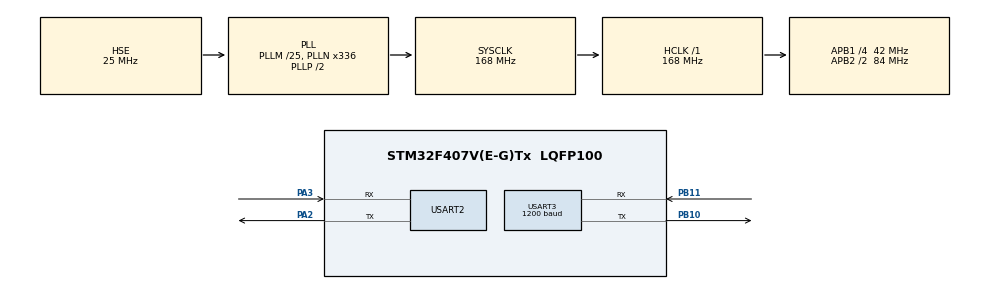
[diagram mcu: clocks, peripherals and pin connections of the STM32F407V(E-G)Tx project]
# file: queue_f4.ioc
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FREERTOS.Tasks01=defaultTask,0,128,StartDefaultTask,Default,NULL,Dynamic,NULL,NULL;myTask02,0,128,StartTask02,Default,NULL,Dynamic,NULL,NULL
Mcu.Family=STM32F4
Mcu.Name=STM32F407V(E-G)Tx
Mcu.Package=LQFP100
NVIC.PriorityGroup=NVIC_PRIORITYGROUP_4
NVIC.TIM1_UP_TIM10_IRQn=true\:15\:0\:false\:false\:true\:false\:false\:true\:true
NVIC.TimeBase=TIM1_UP_TIM10_IRQn
NVIC.TimeBaseIP=TIM1
NVIC.USART2_IRQn=true\:5\:0\:false\:false\:true\:true\:true\:true\:true
PA13.Mode=Serial_Wire
PA13.Signal=SYS_JTMS-SWDIO
PA14.Mode=Serial_Wire
PA14.Signal=SYS_JTCK-SWCLK
PA2.Mode=Asynchronous
PA2.Signal=USART2_TX
PA3.Mode=Asynchronous
PA3.Signal=USART2_RX
PB10.Mode=Asynchronous
PB10.Signal=USART3_TX
PB11.Mode=Asynchronous
PB11.Signal=USART3_RX
PH0-OSC_IN.Mode=HSE-External-Oscillator
PH0-OSC_IN.Signal=RCC_OSC_IN
PH1-OSC_OUT.Mode=HSE-External-Oscillator
PH1-OSC_OUT.Signal=RCC_OSC_OUT
ProjectManager.HeapSize=0x200
ProjectManager.StackSize=0x400
ProjectManager.TargetToolchain=STM32CubeIDE
RCC.48MHZClocksFreq_Value=84000000
RCC.AHBFreq_Value=168000000
RCC.APB1CLKDivider=RCC_HCLK_DIV4
RCC.APB1Freq_Value=42000000
RCC.APB1TimFreq_Value=84000000
RCC.APB2CLKDivider=RCC_HCLK_DIV2
RCC.APB2Freq_Value=84000000
RCC.APB2TimFreq_Value=168000000
RCC.CortexFreq_Value=168000000
RCC.HCLKFreq_Value=168000000
RCC.HSE_VALUE=25000000
RCC.HSI_VALUE=16000000
RCC.LSE_VALUE=32768
RCC.PLLM=25
RCC.PLLN=336
RCC.PLLSourceVirtual=RCC_PLLSOURCE_HSE
RCC.SYSCLKFreq_VALUE=168000000
RCC.SYSCLKSource=RCC_SYSCLKSOURCE_PLLCLK
RCC.VCOOutputFreq_Value=336000000
USART2.VirtualMode=VM_ASYNC
USART3.BaudRate=1200
USART3.VirtualMode=VM_ASYNC
VP_FREERTOS_VS_CMSIS_V1.Mode=CMSIS_V1
VP_SYS_VS_tim1.Mode=TIM1
board=custom

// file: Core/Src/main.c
/* USER CODE BEGIN Header */
/**
  ******************************************************************************
  * @file           : main.c
  * @brief          : Main program body
  ******************************************************************************
  * @attention
  *
  * Copyright (c) 2023 STMicroelectronics.
  * All rights reserved.
  *
  * This software is licensed under terms that can be found in the LICENSE file
  * in the root directory of this software component.
  * If no LICENSE file comes with this software, it is provided AS-IS.
  *
  ******************************************************************************
  */
/* USER CODE END Header */
#include "main.h"
#include "cmsis_os.h"

UART_HandleTypeDef huart2;
UART_HandleTypeDef huart3;

osThreadId defaultTaskHandle;
osThreadId myTask02Handle;
/* USER CODE BEGIN PV */
xQueueHandle myQueue;
uint8_t item[50];
uint8_t data;
uint32_t count;
uint8_t str[50];
/* USER CODE END PV */

void SystemClock_Config(void);
static void MX_GPIO_Init(void);
static void MX_USART2_UART_Init(void);
static void MX_USART3_UART_Init(void);
void StartDefaultTask(void const * argument);
void StartTask02(void const * argument);

int main(void)
{

  /* MCU Configuration--------------------------------------------------------*/

  /* Reset of all peripherals, Initializes the Flash interface and the Systick. */
  HAL_Init();

  /* Configure the system clock */
  SystemClock_Config();

  /* Initialize all configured peripherals */
  MX_GPIO_Init();
  MX_USART2_UART_Init();
  MX_USART3_UART_Init();
  /* USER CODE BEGIN 2 */
  myQueue = xQueueCreate(10, sizeof(item));
  configASSERT(myQueue != NULL);

   HAL_UART_Receive_IT(&huart2, &data, 1);
  /* USER CODE END 2 */

  /* Create the thread(s) */
  /* definition and creation of defaultTask */
  osThreadDef(defaultTask, StartDefaultTask, osPriorityNormal, 0, 128);
  defaultTaskHandle = osThreadCreate(osThread(defaultTask), NULL);

  /* definition and creation of myTask02 */
  osThreadDef(myTask02, StartTask02, osPriorityNormal, 0, 128);
  myTask02Handle = osThreadCreate(osThread(myTask02), NULL);

  /* Start scheduler */
  osKernelStart();
  /* We should never get here as control is now taken by the scheduler */
  /* Infinite loop */
  while (1)
  {

  }
}

void SystemClock_Config(void)
{
  RCC_OscInitTypeDef RCC_OscInitStruct = {0};
  RCC_ClkInitTypeDef RCC_ClkInitStruct = {0};

  /** Configure the main internal regulator output voltage
  */
  __HAL_RCC_PWR_CLK_ENABLE();
  __HAL_PWR_VOLTAGESCALING_CONFIG(PWR_REGULATOR_VOLTAGE_SCALE1);

  /** Initializes the RCC Oscillators according to the specified parameters
  * in the RCC_OscInitTypeDef structure.
  */
  RCC_OscInitStruct.OscillatorType = RCC_OSCILLATORTYPE_HSE;
  RCC_OscInitStruct.HSEState = RCC_HSE_ON;
  RCC_OscInitStruct.PLL.PLLState = RCC_PLL_ON;
  RCC_OscInitStruct.PLL.PLLSource = RCC_PLLSOURCE_HSE;
  RCC_OscInitStruct.PLL.PLLM = 25;
  RCC_OscInitStruct.PLL.PLLN = 336;
  RCC_OscInitStruct.PLL.PLLP = RCC_PLLP_DIV2;
  RCC_OscInitStruct.PLL.PLLQ = 4;
  if (HAL_RCC_OscConfig(&RCC_OscInitStruct) != HAL_OK)
  {
    Error_Handler();
  }

  /** Initializes the CPU, AHB and APB buses clocks
  */
  RCC_ClkInitStruct.ClockType = RCC_CLOCKTYPE_HCLK|RCC_CLOCKTYPE_SYSCLK
                              |RCC_CLOCKTYPE_PCLK1|RCC_CLOCKTYPE_PCLK2;
  RCC_ClkInitStruct.SYSCLKSource = RCC_SYSCLKSOURCE_PLLCLK;
  RCC_ClkInitStruct.AHBCLKDivider = RCC_SYSCLK_DIV1;
  RCC_ClkInitStruct.APB1CLKDivider = RCC_HCLK_DIV4;
  RCC_ClkInitStruct.APB2CLKDivider = RCC_HCLK_DIV2;

  if (HAL_RCC_ClockConfig(&RCC_ClkInitStruct, FLASH_LATENCY_5) != HAL_OK)
  {
    Error_Handler();
  }
}

static void MX_USART2_UART_Init(void)
{

  huart2.Instance = USART2;
  huart2.Init.BaudRate = 115200;
  huart2.Init.WordLength = UART_WORDLENGTH_8B;
  huart2.Init.StopBits = UART_STOPBITS_1;
  huart2.Init.Parity = UART_PARITY_NONE;
  huart2.Init.Mode = UART_MODE_TX_RX;
  huart2.Init.HwFlowCtl = UART_HWCONTROL_NONE;
  huart2.Init.OverSampling = UART_OVERSAMPLING_16;
  if (HAL_UART_Init(&huart2) != HAL_OK)
  {
    Error_Handler();
  }

}

static void MX_USART3_UART_Init(void)
{

  huart3.Instance = USART3;
  huart3.Init.BaudRate = 1200;
  huart3.Init.WordLength = UART_WORDLENGTH_8B;
  huart3.Init.StopBits = UART_STOPBITS_1;
  huart3.Init.Parity = UART_PARITY_NONE;
  huart3.Init.Mode = UART_MODE_TX_RX;
  huart3.Init.HwFlowCtl = UART_HWCONTROL_NONE;
  huart3.Init.OverSampling = UART_OVERSAMPLING_16;
  if (HAL_UART_Init(&huart3) != HAL_OK)
  {
    Error_Handler();
  }

}

static void MX_GPIO_Init(void)
{

  /* GPIO Ports Clock Enable */
  __HAL_RCC_GPIOH_CLK_ENABLE();
  __HAL_RCC_GPIOA_CLK_ENABLE();
  __HAL_RCC_GPIOB_CLK_ENABLE();

}

/* USER CODE BEGIN 4 */
void HAL_UART_RxCpltCallback(UART_HandleTypeDef *huart)
{
	if(huart == &huart2)
	{
		if(data != '\n')
		{
			if(count > 50)
			{

			}
			else
			{
				item[count++] = data;
			}
		}
		else
		{
			xQueueSendFromISR(myQueue, item, NULL);
			count = 0;
//			memset(item, 0, 50);
		}
	}
	HAL_UART_Receive_IT(&huart2, &data, 1);
}
/* USER CODE END 4 */

void StartDefaultTask(void const * argument)
{
  for(;;)
  {
    osDelay(1);
  }
}

void StartTask02(void const * argument)
{
  /* USER CODE BEGIN StartTask02 */
  /* Infinite loop */
	while(1)
	{
		if(xQueueReceive(myQueue, &str, portMAX_DELAY) == pdPASS)
		{
			HAL_UART_Transmit(&huart2, str, 50, HAL_MAX_DELAY);
		}
	}
  /* USER CODE END StartTask02 */
}

void HAL_TIM_PeriodElapsedCallback(TIM_HandleTypeDef *htim)
{
  if (htim->Instance == TIM1) {
    HAL_IncTick();
  }
}

void Error_Handler(void)
{
  __disable_irq();
  while (1)
  {
  }
}
